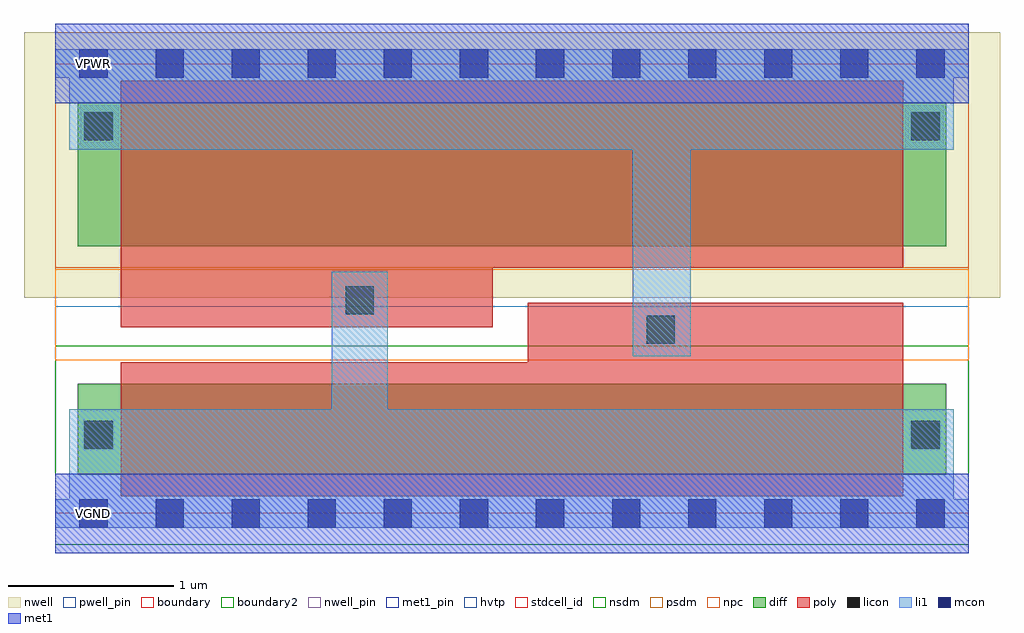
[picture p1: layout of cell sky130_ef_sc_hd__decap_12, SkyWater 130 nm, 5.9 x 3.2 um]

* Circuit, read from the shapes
.subckt sky130_ef_sc_hd__decap_12 VGND VNB VPB VPWR
XM1 VGND VPWR VGND VNB sky130_fd_pr__nfet_01v8 w=0.55 l=4.73
XM2 VPWR VGND VPWR VPB sky130_fd_pr__pfet_01v8_hvt w=0.87 l=4.73
.ends

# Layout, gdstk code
import gdstk
lib = gdstk.Library(unit=1e-6, precision=1e-09)
def R(c, l, rs):  # rectangles x0, y0, x1, y1
    for r in rs: c.add(gdstk.rectangle(r[:2], r[2:], *l))
def P(c, l, *ps):  # polygons
    for p in ps: c.add(gdstk.Polygon(p, *l))
nwell_pin = (64, 16)
nwell = (64, 20)
diff = (65, 20)
poly = (66, 20)
licon = (66, 44)
li1 = (67, 20)
mcon = (67, 44)
met1_pin = (68, 16)
met1 = (68, 20)
hvtp = (78, 44)
stdcell_id = (81, 4)
nsdm = (93, 44)
psdm = (94, 20)
npc = (95, 20)
pwell_pin = (122, 16)
boundary = (235, 4)
boundary2 = (236, 0)

sky130_ef_sc_hd__decap_1 = lib.new_cell('sky130_ef_sc_hd__decap_12')
R(sky130_ef_sc_hd__decap_1, nwell_pin, [(0.145,2.635,0.315,2.805), (0.145,2.635,0.315,2.805), (0.145,2.635,0.315,2.805), (0.145,2.635,0.315,2.805), (0.145,2.635,0.315,2.805)])
R(sky130_ef_sc_hd__decap_1, nwell, [(-0.19,1.305,5.71,2.91), (-0.19,1.305,5.71,2.91), (-0.19,1.305,5.71,2.91), (-0.19,1.305,5.71,2.91), (-0.19,1.305,5.71,2.91)])
R(sky130_ef_sc_hd__decap_1, diff, [(0.135,0.235,5.385,0.785), (0.135,0.235,5.385,0.785), (0.135,0.235,5.385,0.785), (0.135,0.235,5.385,0.785), (0.135,0.235,5.385,0.785), (0.135,1.615,5.385,2.485), (0.135,1.615,5.385,2.485), (0.135,1.615,5.385,2.485), (0.135,1.615,5.385,2.485), (0.135,1.615,5.385,2.485)])
R(sky130_ef_sc_hd__decap_1, poly, [(0.395,0.105,5.125,0.915), (0.395,0.105,5.125,0.915), (0.395,0.105,5.125,0.915), (0.395,0.105,5.125,0.915), (2.855,0.915,5.125,1.275), (2.855,0.915,5.125,1.275), (2.855,0.915,5.125,1.275), (2.855,0.915,5.125,1.275), (0.395,1.125,2.645,1.485), (0.395,1.125,2.645,1.485), (0.395,1.125,2.645,1.485), (0.395,1.125,2.645,1.485), (0.395,1.485,5.125,2.615), (0.395,1.485,5.125,2.615), (0.395,1.485,5.125,2.615), (0.395,1.485,5.125,2.615)])
P(sky130_ef_sc_hd__decap_1, poly, [(0.395,1.125),(0.395,2.615),(5.125,2.615),(5.125,1.485),(2.645,1.485),(2.645,1.125)],
  [(0.395,0.105),(0.395,0.915),(2.855,0.915),(2.855,1.275),(5.125,1.275),(5.125,0.105)])
R(sky130_ef_sc_hd__decap_1, licon, [(0.175,0.39,0.345,0.56), (0.175,0.39,0.345,0.56), (0.175,0.39,0.345,0.56), (0.175,0.39,0.345,0.56), (0.175,0.39,0.345,0.56), (5.175,0.39,5.345,0.56), (5.175,0.39,5.345,0.56), (5.175,0.39,5.345,0.56), (5.175,0.39,5.345,0.56), (5.175,0.39,5.345,0.56), (3.575,1.025,3.745,1.195), (3.575,1.025,3.745,1.195), (3.575,1.025,3.745,1.195), (3.575,1.025,3.745,1.195), (3.575,1.025,3.745,1.195), (1.755,1.205,1.925,1.375), (1.755,1.205,1.925,1.375), (1.755,1.205,1.925,1.375), (1.755,1.205,1.925,1.375), (1.755,1.205,1.925,1.375), (0.175,2.255,0.345,2.425), (0.175,2.255,0.345,2.425), (0.175,2.255,0.345,2.425), (0.175,2.255,0.345,2.425), (0.175,2.255,0.345,2.425), (5.175,2.255,5.345,2.425), (5.175,2.255,5.345,2.425), (5.175,2.255,5.345,2.425), (5.175,2.255,5.345,2.425), (5.175,2.255,5.345,2.425)])
R(sky130_ef_sc_hd__decap_1, li1, [(0,-0.085,5.52,0.085), (0,-0.085,5.52,0.085), (0,-0.085,5.52,0.085), (0,-0.085,5.52,0.085), (0,-0.085,5.52,0.085), (0.085,0.085,5.43,0.63), (0.085,0.085,5.43,0.63), (0.085,0.085,5.43,0.63), (0.085,0.085,5.43,0.63), (0.085,0.085,5.43,0.63), (1.67,0.63,2.01,1.46), (1.67,0.63,2.01,1.46), (1.67,0.63,2.01,1.46), (1.67,0.63,2.01,1.46), (1.67,0.63,2.01,1.46), (3.49,0.95,3.84,2.2), (3.49,0.95,3.84,2.2), (3.49,0.95,3.84,2.2), (3.49,0.95,3.84,2.2), (3.49,0.95,3.84,2.2), (0.085,2.2,5.43,2.635), (0.085,2.2,5.43,2.635), (0.085,2.2,5.43,2.635), (0.085,2.2,5.43,2.635), (0.085,2.2,5.43,2.635), (0,2.635,5.52,2.805), (0,2.635,5.52,2.805), (0,2.635,5.52,2.805), (0,2.635,5.52,2.805), (0,2.635,5.52,2.805)])
R(sky130_ef_sc_hd__decap_1, mcon, [(0.145,-0.085,0.315,0.085), (0.145,-0.085,0.315,0.085), (0.145,-0.085,0.315,0.085), (0.145,-0.085,0.315,0.085), (0.145,-0.085,0.315,0.085), (0.605,-0.085,0.775,0.085), (0.605,-0.085,0.775,0.085), (0.605,-0.085,0.775,0.085), (0.605,-0.085,0.775,0.085), (0.605,-0.085,0.775,0.085), (1.065,-0.085,1.235,0.085), (1.065,-0.085,1.235,0.085), (1.065,-0.085,1.235,0.085), (1.065,-0.085,1.235,0.085), (1.065,-0.085,1.235,0.085), (1.525,-0.085,1.695,0.085), (1.525,-0.085,1.695,0.085), (1.525,-0.085,1.695,0.085), (1.525,-0.085,1.695,0.085), (1.525,-0.085,1.695,0.085), (1.985,-0.085,2.155,0.085), (1.985,-0.085,2.155,0.085), (1.985,-0.085,2.155,0.085), (1.985,-0.085,2.155,0.085), (1.985,-0.085,2.155,0.085), (2.445,-0.085,2.615,0.085), (2.445,-0.085,2.615,0.085), (2.445,-0.085,2.615,0.085), (2.445,-0.085,2.615,0.085), (2.445,-0.085,2.615,0.085), (2.905,-0.085,3.075,0.085), (2.905,-0.085,3.075,0.085), (2.905,-0.085,3.075,0.085), (2.905,-0.085,3.075,0.085), (2.905,-0.085,3.075,0.085), (3.365,-0.085,3.535,0.085), (3.365,-0.085,3.535,0.085), (3.365,-0.085,3.535,0.085), (3.365,-0.085,3.535,0.085), (3.365,-0.085,3.535,0.085), (3.825,-0.085,3.995,0.085), (3.825,-0.085,3.995,0.085), (3.825,-0.085,3.995,0.085), (3.825,-0.085,3.995,0.085), (3.825,-0.085,3.995,0.085), (4.285,-0.085,4.455,0.085), (4.285,-0.085,4.455,0.085), (4.285,-0.085,4.455,0.085), (4.285,-0.085,4.455,0.085), (4.285,-0.085,4.455,0.085), (4.745,-0.085,4.915,0.085), (4.745,-0.085,4.915,0.085), (4.745,-0.085,4.915,0.085), (4.745,-0.085,4.915,0.085), (4.745,-0.085,4.915,0.085), (5.205,-0.085,5.375,0.085), (5.205,-0.085,5.375,0.085), (5.205,-0.085,5.375,0.085), (5.205,-0.085,5.375,0.085), (5.205,-0.085,5.375,0.085), (0.145,2.635,0.315,2.805), (0.145,2.635,0.315,2.805), (0.145,2.635,0.315,2.805), (0.145,2.635,0.315,2.805), (0.145,2.635,0.315,2.805), (0.605,2.635,0.775,2.805), (0.605,2.635,0.775,2.805), (0.605,2.635,0.775,2.805), (0.605,2.635,0.775,2.805), (0.605,2.635,0.775,2.805), (1.065,2.635,1.235,2.805), (1.065,2.635,1.235,2.805), (1.065,2.635,1.235,2.805), (1.065,2.635,1.235,2.805), (1.065,2.635,1.235,2.805), (1.525,2.635,1.695,2.805), (1.525,2.635,1.695,2.805), (1.525,2.635,1.695,2.805), (1.525,2.635,1.695,2.805), (1.525,2.635,1.695,2.805), (1.985,2.635,2.155,2.805), (1.985,2.635,2.155,2.805), (1.985,2.635,2.155,2.805), (1.985,2.635,2.155,2.805), (1.985,2.635,2.155,2.805), (2.445,2.635,2.615,2.805), (2.445,2.635,2.615,2.805), (2.445,2.635,2.615,2.805), (2.445,2.635,2.615,2.805), (2.445,2.635,2.615,2.805), (2.905,2.635,3.075,2.805), (2.905,2.635,3.075,2.805), (2.905,2.635,3.075,2.805), (2.905,2.635,3.075,2.805), (2.905,2.635,3.075,2.805), (3.365,2.635,3.535,2.805), (3.365,2.635,3.535,2.805), (3.365,2.635,3.535,2.805), (3.365,2.635,3.535,2.805), (3.365,2.635,3.535,2.805), (3.825,2.635,3.995,2.805), (3.825,2.635,3.995,2.805), (3.825,2.635,3.995,2.805), (3.825,2.635,3.995,2.805), (3.825,2.635,3.995,2.805), (4.285,2.635,4.455,2.805), (4.285,2.635,4.455,2.805), (4.285,2.635,4.455,2.805), (4.285,2.635,4.455,2.805), (4.285,2.635,4.455,2.805), (4.745,2.635,4.915,2.805), (4.745,2.635,4.915,2.805), (4.745,2.635,4.915,2.805), (4.745,2.635,4.915,2.805), (4.745,2.635,4.915,2.805), (5.205,2.635,5.375,2.805), (5.205,2.635,5.375,2.805), (5.205,2.635,5.375,2.805), (5.205,2.635,5.375,2.805), (5.205,2.635,5.375,2.805)])
R(sky130_ef_sc_hd__decap_1, met1_pin, [(0.145,-0.085,0.315,0.085), (0.145,-0.085,0.315,0.085), (0.145,-0.085,0.315,0.085), (0.145,-0.085,0.315,0.085), (0.145,-0.085,0.315,0.085), (0.145,2.635,0.315,2.805), (0.145,2.635,0.315,2.805), (0.145,2.635,0.315,2.805), (0.145,2.635,0.315,2.805), (0.145,2.635,0.315,2.805)])
R(sky130_ef_sc_hd__decap_1, met1, [(0,-0.24,5.52,0.24), (0,-0.24,5.52,0.24), (0,-0.24,5.52,0.24), (0,-0.24,5.52,0.24), (0,2.48,5.52,2.96), (0,2.48,5.52,2.96), (0,2.48,5.52,2.96), (0,2.48,5.52,2.96)])
R(sky130_ef_sc_hd__decap_1, hvtp, [(0,1.25,5.52,2.72), (0.215,1.435,5.305,2.665), (0.215,1.435,5.305,2.665), (0.215,1.435,5.305,2.665), (0.215,1.435,5.305,2.665)])
R(sky130_ef_sc_hd__decap_1, stdcell_id, [(0,0,5.52,2.72), (0,0,5.52,2.72), (0,0,5.52,2.72), (0,0,5.52,2.72), (0,0,5.52,2.72)])
R(sky130_ef_sc_hd__decap_1, nsdm, [(0,-0.19,5.52,1.015), (0.01,0.11,5.51,0.91), (0.01,0.11,5.51,0.91), (0.01,0.11,5.51,0.91), (0.01,0.11,5.51,0.91)])
R(sky130_ef_sc_hd__decap_1, psdm, [(0,1.485,5.52,2.91), (0.01,1.49,5.51,2.61), (0.01,1.49,5.51,2.61), (0.01,1.49,5.51,2.61), (0.01,1.49,5.51,2.61)])
R(sky130_ef_sc_hd__decap_1, npc, [(0,0.925,5.52,1.475), (3.475,0.925,3.845,1.295), (3.475,0.925,3.845,1.295), (3.475,0.925,3.845,1.295), (3.475,0.925,3.845,1.295), (1.655,1.105,2.025,1.475), (1.655,1.105,2.025,1.475), (1.655,1.105,2.025,1.475), (1.655,1.105,2.025,1.475)])
R(sky130_ef_sc_hd__decap_1, pwell_pin, [(0.145,-0.085,0.315,0.085), (0.145,-0.085,0.315,0.085), (0.145,-0.085,0.315,0.085), (0.145,-0.085,0.315,0.085), (0.145,-0.085,0.315,0.085)])
R(sky130_ef_sc_hd__decap_1, boundary, [(0,0,5.52,2.72), (0,0,5.52,2.72), (0,0,5.52,2.72), (0,0,5.52,2.72)])
R(sky130_ef_sc_hd__decap_1, boundary2, [(0,0,5.52,2.72)])
sky130_ef_sc_hd__decap_1.add(gdstk.FlexPath([(0,2.72),(5.52,2.72)], 0.48, ends="flush", simple_path=True, layer=68, datatype=20))  # met1
sky130_ef_sc_hd__decap_1.add(gdstk.FlexPath([(0,0),(5.52,0)], 0.48, ends="flush", simple_path=True, layer=68, datatype=20))  # met1
sky130_ef_sc_hd__decap_1.add(gdstk.Label('VGND', (0.23,0), layer=68, texttype=5))
sky130_ef_sc_hd__decap_1.add(gdstk.Label('VPWR', (0.23,2.72), layer=68, texttype=5))
sky130_ef_sc_hd__decap_1.add(gdstk.Label('VGND', (0.23,0), layer=68, texttype=5))
sky130_ef_sc_hd__decap_1.add(gdstk.Label('VPWR', (0.23,2.72), layer=68, texttype=5))
sky130_ef_sc_hd__decap_1.add(gdstk.Label('VGND', (0.23,0), layer=68, texttype=5))
sky130_ef_sc_hd__decap_1.add(gdstk.Label('VPWR', (0.23,2.72), layer=68, texttype=5))
sky130_ef_sc_hd__decap_1.add(gdstk.Label('VGND', (0.23,0), layer=68, texttype=5))
sky130_ef_sc_hd__decap_1.add(gdstk.Label('VPWR', (0.23,2.72), layer=68, texttype=5))
sky130_ef_sc_hd__decap_1.add(gdstk.Label('VGND', (0.23,0), layer=68, texttype=5))
sky130_ef_sc_hd__decap_1.add(gdstk.Label('VPWR', (0.23,2.72), layer=68, texttype=5))
sky130_ef_sc_hd__decap_1.add(gdstk.Label('VPB', (0.23,2.72), layer=64, texttype=5))
sky130_ef_sc_hd__decap_1.add(gdstk.Label('VPB', (0.23,2.72), layer=64, texttype=5))
sky130_ef_sc_hd__decap_1.add(gdstk.Label('VPB', (0.23,2.72), layer=64, texttype=5))
sky130_ef_sc_hd__decap_1.add(gdstk.Label('VPB', (0.23,2.72), layer=64, texttype=5))
sky130_ef_sc_hd__decap_1.add(gdstk.Label('VPB', (0.23,2.72), layer=64, texttype=5))
sky130_ef_sc_hd__decap_1.add(gdstk.Label('VNB', (0.23,0), layer=64, texttype=59))
sky130_ef_sc_hd__decap_1.add(gdstk.Label('VNB', (0.23,0), layer=64, texttype=59))
sky130_ef_sc_hd__decap_1.add(gdstk.Label('VNB', (0.23,0), layer=64, texttype=59))
sky130_ef_sc_hd__decap_1.add(gdstk.Label('VNB', (0.23,0), layer=64, texttype=59))
sky130_ef_sc_hd__decap_1.add(gdstk.Label('VNB', (0.23,0), layer=64, texttype=59))
sky130_ef_sc_hd__decap_1.add(gdstk.Label('decap_12', (0,0), layer=83, texttype=44))

lib.write_gds('sky130_ef_sc_hd__decap_12.gds')
